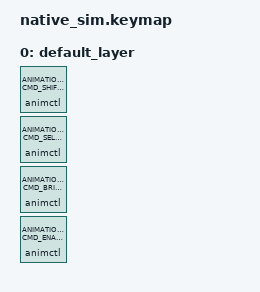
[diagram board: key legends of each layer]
#include "../test.dtsi"
#include <dt-bindings/zmk/keys.h>
#include <dt-bindings/zmk/kscan_mock.h>
#include <zmk_driver_animation/animation.dtsi>
#include <behaviors/animation_control.dtsi>
#include <dt-bindings/zmk_driver_animation/animation_control.h>

/*
 * Port + extension of v1's tests/test (DESIGN.md #5: "v1's only real
 * behavioral test" - enable/shift/select/brightness via animctl). Exercises
 * control.c's public API end-to-end through the real behavior, the same
 * way a keymap author would.
 */

/ {
    mock_led_strip0: mock_led_strip_0 {
        compatible = "zmk,mock-led-strip";
        chain-length = <2>;
    };

    animation: animation {
        compatible = "zmk,animation";
        drivers = <&mock_led_strip0>;
        chain-lengths = <2>;
        pixels = <&pixel 0 0>, <&pixel 1 0>;
    };

    animation_solid0: animation_solid_0 {
        compatible = "zmk,animation-solid";
        pixels = <0 1>;
        colors = <HSL(0, 100, 50)>;
    };

    animation_solid1: animation_solid_1 {
        compatible = "zmk,animation-solid";
        pixels = <0 1>;
        colors = <HSL(120, 100, 50)>;
    };

    animation_control0: animation_control_0 {
        compatible = "zmk,animation-control";
        powered-animations = <&animation_solid0 &animation_solid1>;
        battery-animations = <&animation_solid0 &animation_solid1>;
        behavior-animations = <&animation_solid0>;
        brightness-steps = <5>;
        default-powered-brightness = <2>;
        default-battery-brightness = <2>;
    };

    chosen {
        zmk,animation = &animation_control0;
        zmk,animation-control = &animation_control0;
    };
};

&kscan {
    events = <
    ZMK_MOCK_PRESS(0,0,50)
    ZMK_MOCK_RELEASE(0,0,50)
    ZMK_MOCK_PRESS(0,1,50)
    ZMK_MOCK_RELEASE(0,1,50)
    ZMK_MOCK_PRESS(1,0,50)
    ZMK_MOCK_RELEASE(1,0,50)
    ZMK_MOCK_PRESS(1,1,50)
    ZMK_MOCK_RELEASE(1,1,50)
    >;
};

/ {
    keymap {
        compatible = "zmk,keymap";

        default_layer {
            bindings = <
            &animctl ANIMATION_CONTROL_CMD_SHIFT 1
            &animctl ANIMATION_CONTROL_CMD_SELECT 0
            &animctl ANIMATION_CONTROL_CMD_BRIGHT 1
            &animctl ANIMATION_CONTROL_CMD_ENABLE 0
            >;
        };
    };
};
